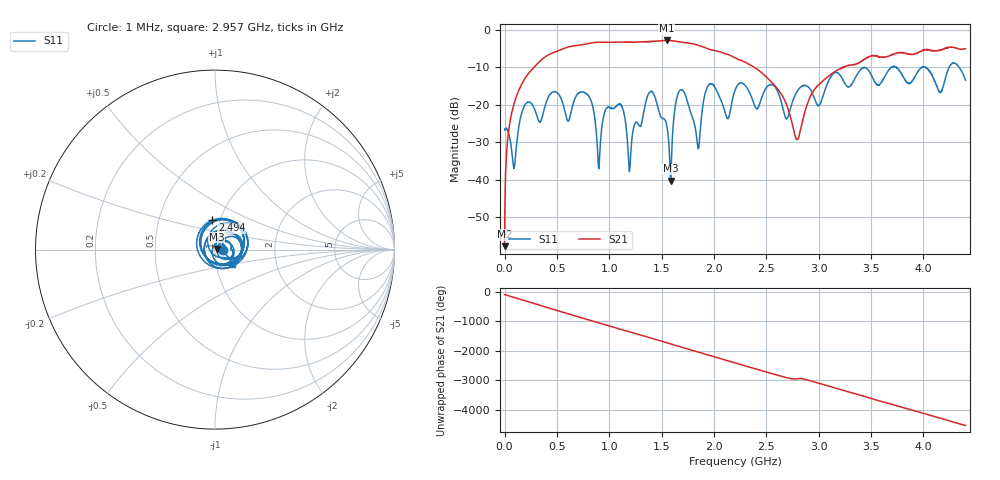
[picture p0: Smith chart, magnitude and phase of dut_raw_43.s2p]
!Created with skrf (http://scikit-rf.org).
# Hz S RI R 50.0
!freq ReS11 ImS11 ReS21 ImS21 ReS12 ImS12 ReS22 ImS22
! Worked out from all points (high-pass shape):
!   4400 points, 1 MHz to 4.4 GHz, reference 50 ohm
!   highest |S21| = -2.87 dB at 1.55 GHz (marker M1); lowest = -57.7 dB at 1 MHz (marker M2)
!   |S21| within 3 dB of the highest: 489.9 MHz to 2.052 GHz (1.563 GHz wide, 123 % of centre); 3.964 GHz to end of sweep
!   lowest |S11| = -40.2 dB at 1.586 GHz (marker M3), VSWR 1.02, Z = 50.9 + j0.425 ohm
!   |S11| at or under -10 dB: start of sweep to 3.696 GHz; 3.74 GHz to 3.987 GHz (246.7 MHz wide, 6.39 % of centre); 4.015 GHz to 4.246 GHz (231.1 MHz wide, 5.59 % of centre)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
!   S12 and S22 are empty: the file has one direction only
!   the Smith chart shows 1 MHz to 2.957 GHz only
!   S11 on the Smith chart (normalised r, x): 1 MHz: 1.10, +0.00; 2.494 GHz: 0.92, +0.31; 2.957 GHz: 1.19, -0.19
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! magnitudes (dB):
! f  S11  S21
! 1 MHz  -26.8  -57.7
! 43 MHz  -27.9  -26.3
! 92 MHz  -36.8  -19.6
! 147 MHz  -24.2  -15.5
! 735 MHz  -16.6  -4.0
! 899 MHz  -36.9  -3.3
! 982 MHz  -20.7  -3.4
! 1.12 GHz  -20.5  -3.3
! 1.194 GHz  -37.5  -3.3
! 1.468 GHz  -21.1  -3.0
! 1.55 GHz  -25.6  -2.9
! 1.586 GHz  -40.2  -2.9
! 1.676 GHz  -16.2  -3.3
! 1.847 GHz  -31.4  -4.1
! 1.948 GHz  -14.7  -5.2
! 2.201 GHz  -16.2  -7.5
! 2.494 GHz  -15.7  -12.5
! 2.791 GHz  -16.5  -29.3
! 2.934 GHz  -16.7  -17.1
! 2.957 GHz  -18.2  -16.0
! 3.667 GHz  -10.8  -7.1
! 4.4 GHz  -13.5  -5.1
